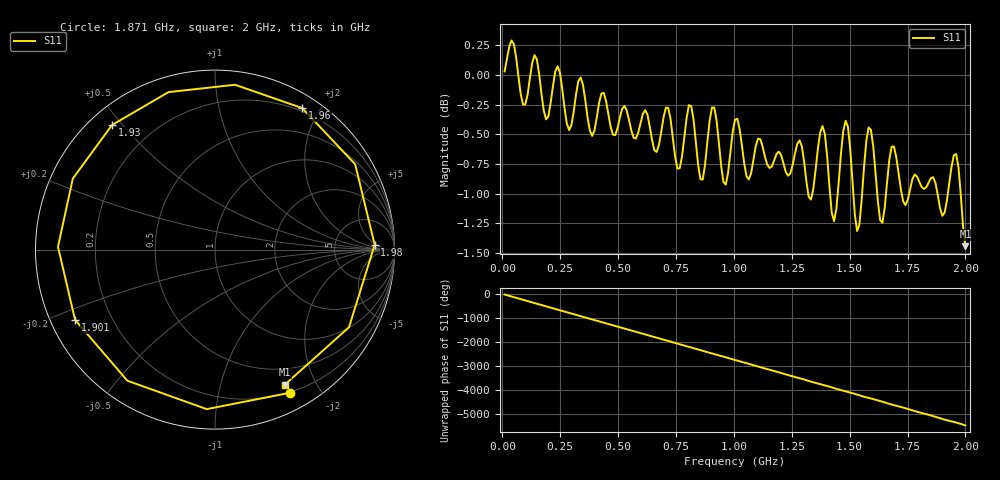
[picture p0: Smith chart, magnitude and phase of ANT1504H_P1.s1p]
!Created with skrf (http://scikit-rf.org).
# Hz S RI R 50.0
!freq ReS11 ImS11
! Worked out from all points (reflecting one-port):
!   201 points, 10 MHz to 2 GHz, reference 50 ohm
!   lowest |S11| = -1.4 dB at 2 GHz (marker M1), VSWR 12.06, Z = 15.1 - j80.2 ohm
!   phase of S11 starts at -28 deg and turns -5434 deg over the sweep
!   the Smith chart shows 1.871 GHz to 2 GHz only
!   S11 on the Smith chart (normalised r, x): 1.871 GHz: 0.19, -1.64; 1.901 GHz: 0.07, -0.24; 1.93 GHz: 0.06, +0.47; 1.96 GHz: 0.16, +1.78; 1.98 GHz: 16, +4; 2 GHz: 0.30, -1.60
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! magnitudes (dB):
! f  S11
! 10 MHz  0.0
! 258.8 MHz  -0.1
! 507.5 MHz  -0.4
! 716.5 MHz  -0.3
! 756.2 MHz  -0.8
! 806 MHz  -0.3
! 865.7 MHz  -0.9
! 915.5 MHz  -0.3
! 965.2 MHz  -0.9
! 1.005 GHz  -0.4
! 1.065 GHz  -0.9
! 1.254 GHz  -0.8
! 1.333 GHz  -1.1
! 1.383 GHz  -0.4
! 1.433 GHz  -1.2
! 1.473 GHz  -0.5
! 1.502 GHz  -0.6
! 1.532 GHz  -1.3
! 1.582 GHz  -0.4
! 1.632 GHz  -1.2
! 1.682 GHz  -0.6
! 1.751 GHz  -1.1
! 1.871 GHz  -0.9
! 1.901 GHz  -1.2
! 1.93 GHz  -0.9
! 1.96 GHz  -0.7
! 1.98 GHz  -1.0
! 2 GHz  -1.4
